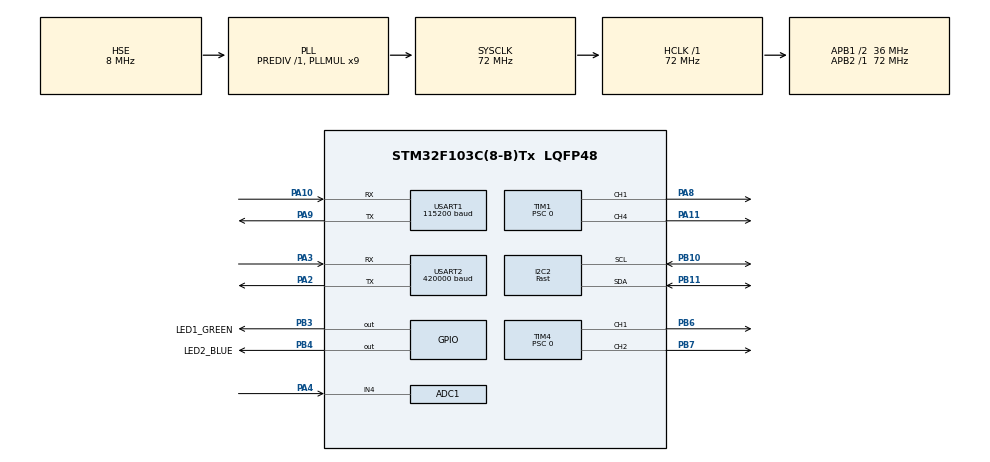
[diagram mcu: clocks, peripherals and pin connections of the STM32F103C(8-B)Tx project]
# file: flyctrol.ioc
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ADC1.Channel-0\#ChannelRegularConversion=ADC_CHANNEL_4
ADC1.Rank-0\#ChannelRegularConversion=1
ADC1.SamplingTime-0\#ChannelRegularConversion=ADC_SAMPLETIME_239CYCLES_5
ADC1.master=1
Dma.Request0=USART2_RX
Dma.USART2_RX.0.Direction=DMA_PERIPH_TO_MEMORY
Dma.USART2_RX.0.Instance=DMA1_Channel6
Dma.USART2_RX.0.MemDataAlignment=DMA_MDATAALIGN_BYTE
Dma.USART2_RX.0.MemInc=DMA_MINC_ENABLE
Dma.USART2_RX.0.Mode=DMA_CIRCULAR
Dma.USART2_RX.0.PeriphDataAlignment=DMA_PDATAALIGN_BYTE
Dma.USART2_RX.0.PeriphInc=DMA_PINC_DISABLE
Dma.USART2_RX.0.Priority=DMA_PRIORITY_HIGH
FREERTOS.HEAP_NUMBER=4
FREERTOS.INCLUDE_eTaskGetState=1
FREERTOS.INCLUDE_pcTaskGetTaskName=1
FREERTOS.INCLUDE_uxTaskGetStackHighWaterMark=1
FREERTOS.INCLUDE_uxTaskPriorityGet=1
FREERTOS.INCLUDE_vTaskCleanUpResources=0
FREERTOS.INCLUDE_vTaskDelay=1
FREERTOS.INCLUDE_vTaskDelayUntil=1
FREERTOS.INCLUDE_vTaskDelete=1
FREERTOS.INCLUDE_vTaskPrioritySet=1
FREERTOS.INCLUDE_vTaskSuspend=1
FREERTOS.INCLUDE_xEventGroupSetBitFromISR=0
FREERTOS.INCLUDE_xQueueGetMutexHolder=0
FREERTOS.INCLUDE_xSemaphoreGetMutexHolder=0
FREERTOS.INCLUDE_xTaskAbortDelay=0
FREERTOS.INCLUDE_xTaskGetCurrentTaskHandle=1
FREERTOS.INCLUDE_xTaskGetHandle=0
FREERTOS.INCLUDE_xTaskGetSchedulerState=1
FREERTOS.INCLUDE_xTaskResumeFromISR=1
FREERTOS.MEMORY_ALLOCATION=0
FREERTOS.Tasks01=defaultTask,0,512,StartDefaultTask,Default,NULL,Dynamic,NULL,NULL
FREERTOS.configCHECK_FOR_STACK_OVERFLOW=2
FREERTOS.configENABLE_BACKWARD_COMPATIBILITY=1
FREERTOS.configGENERATE_RUN_TIME_STATS=0
FREERTOS.configIDLE_SHOULD_YIELD=1
FREERTOS.configLIBRARY_LOWEST_INTERRUPT_PRIORITY=15
FREERTOS.configLIBRARY_MAX_SYSCALL_INTERRUPT_PRIORITY=5
FREERTOS.configMAX_CO_ROUTINE_PRIORITIES=2
FREERTOS.configMAX_PRIORITIES=7
FREERTOS.configMAX_TASK_NAME_LEN=12
FREERTOS.configMINIMAL_STACK_SIZE=128
FREERTOS.configQUEUE_REGISTRY_SIZE=4
FREERTOS.configRECORD_STACK_HIGH_ADDRESS=0
FREERTOS.configTICK_RATE_HZ=1000
FREERTOS.configTOTAL_HEAP_SIZE=12288
FREERTOS.configUSE_APPLICATION_TASK_TAG=0
FREERTOS.configUSE_COUNTING_SEMAPHORES=1
FREERTOS.configUSE_CO_ROUTINES=0
FREERTOS.configUSE_DAEMON_TASK_STARTUP_HOOK=0
FREERTOS.configUSE_IDLE_HOOK=0
FREERTOS.configUSE_MALLOC_FAILED_HOOK=1
FREERTOS.configUSE_MUTEXES=1
FREERTOS.configUSE_NEWLIB_REENTRANT=1
FREERTOS.configUSE_PREEMPTION=1
FREERTOS.configUSE_RECURSIVE_MUTEXES=0
FREERTOS.configUSE_STATS_FORMATTING_FUNCTIONS=1
FREERTOS.configUSE_TASK_NOTIFICATIONS=1
FREERTOS.configUSE_TICKLESS_IDLE=0
FREERTOS.configUSE_TICK_HOOK=0
FREERTOS.configUSE_TIMERS=0
FREERTOS.configUSE_TRACE_FACILITY=1
FREERTOS.copyHeapFile=1
I2C2.I2C_Speed_Mode=I2C_Fast
Mcu.Family=STM32F1
Mcu.Name=STM32F103C(8-B)Tx
Mcu.Package=LQFP48
NVIC.DMA1_Channel6_IRQn=true\:5\:0\:false\:false\:true\:true\:true\:true\:true
NVIC.PriorityGroup=NVIC_PRIORITYGROUP_4
NVIC.TIM2_IRQn=true\:15\:0\:false\:false\:true\:false\:true\:true\:true
NVIC.TimeBase=TIM2_IRQn
NVIC.TimeBaseIP=TIM2
NVIC.USART2_IRQn=true\:5\:0\:false\:false\:true\:true\:true\:true\:true
PA10.Mode=Asynchronous
PA10.Signal=USART1_RX
PA11.Signal=S_TIM1_CH4
PA13.Mode=Serial_Wire
PA13.Signal=SYS_JTMS-SWDIO
PA14.Mode=Serial_Wire
PA14.Signal=SYS_JTCK-SWCLK
PA2.Mode=Asynchronous
PA2.Signal=USART2_TX
PA3.Mode=Asynchronous
PA3.Signal=USART2_RX
PA4.Signal=ADCx_IN4
PA8.Signal=S_TIM1_CH1
PA9.Mode=Asynchronous
PA9.Signal=USART1_TX
PB10.Mode=I2C
PB10.Signal=I2C2_SCL
PB11.Mode=I2C
PB11.Signal=I2C2_SDA
PB3.GPIO_Label=LED1_GREEN
PB3.GPIO_ModeDefaultOutputPP=GPIO_MODE_OUTPUT_PP
PB3.GPIO_Speed=GPIO_SPEED_FREQ_LOW
PB3.PinState=GPIO_PIN_SET
PB3.Signal=GPIO_Output
PB4.GPIO_Label=LED2_BLUE
PB4.GPIO_ModeDefaultOutputPP=GPIO_MODE_OUTPUT_PP
PB4.GPIO_Speed=GPIO_SPEED_FREQ_LOW
PB4.PinState=GPIO_PIN_SET
PB4.Signal=GPIO_Output
PB6.Signal=S_TIM4_CH1
PB7.Signal=S_TIM4_CH2
PD0-OSC_IN.Mode=HSE-External-Oscillator
PD0-OSC_IN.Signal=RCC_OSC_IN
PD1-OSC_OUT.Mode=HSE-External-Oscillator
PD1-OSC_OUT.Signal=RCC_OSC_OUT
ProjectManager.HeapSize=0x800
ProjectManager.StackSize=0x800
ProjectManager.TargetToolchain=STM32CubeIDE
RCC.ADCPresc=RCC_ADCPCLK2_DIV6
RCC.AHBFreq_Value=72000000
RCC.APB1CLKDivider=RCC_HCLK_DIV2
RCC.APB1Freq_Value=36000000
RCC.APB1TimFreq_Value=72000000
RCC.APB2Freq_Value=72000000
RCC.APB2TimFreq_Value=72000000
RCC.HCLKFreq_Value=72000000
RCC.HSE_VALUE=8000000
RCC.HSI_VALUE=8000000
RCC.PLLMUL=RCC_PLL_MUL9
RCC.PLLMul=RCC_PLL_MUL9
RCC.PLLSourceVirtual=RCC_PLLSOURCE_HSE
RCC.SYSCLKFreq_VALUE=72000000
RCC.SYSCLKSource=RCC_SYSCLKSOURCE_PLLCLK
RCC.USBFreq_Value=72000000
SH.ADCx_IN4.0=ADC1_IN4,IN4
SH.S_TIM1_CH1.0=TIM1_CH1,PWM Generation1 CH1
SH.S_TIM1_CH4.0=TIM1_CH4,PWM Generation4 CH4
SH.S_TIM4_CH1.0=TIM4_CH1,PWM Generation1 CH1
SH.S_TIM4_CH2.0=TIM4_CH2,PWM Generation2 CH2
TIM1.Channel-PWM\ Generation1\ CH1=TIM_CHANNEL_1
TIM1.Channel-PWM\ Generation4\ CH4=TIM_CHANNEL_4
TIM1.Period=4499
TIM1.Prescaler=0
TIM1.Pulse-PWM\ Generation1\ CH1=0
TIM1.Pulse-PWM\ Generation4\ CH4=0
TIM4.Channel-PWM\ Generation1\ CH1=TIM_CHANNEL_1
TIM4.Channel-PWM\ Generation2\ CH2=TIM_CHANNEL_2
TIM4.Period=4499
TIM4.Prescaler=0
TIM4.Pulse-PWM\ Generation1\ CH1=0
TIM4.Pulse-PWM\ Generation2\ CH2=0
USART1.BaudRate=115200
USART1.Mode=MODE_TX_RX
USART1.OverSampling=UART_OVERSAMPLING_16
USART1.Parity=PARITY_NONE
USART1.StopBits=STOPBITS_1
USART1.VirtualMode=VM_ASYNC
USART1.VirtualMode-Asynchronous=VM_ASYNC
USART1.WordLength=WORDLENGTH_8B
USART2.BaudRate=420000
USART2.Mode=MODE_TX_RX
USART2.OverSampling=UART_OVERSAMPLING_16
USART2.Parity=PARITY_NONE
USART2.StopBits=STOPBITS_1
USART2.VirtualMode=VM_ASYNC
USART2.VirtualMode-Asynchronous=VM_ASYNC
USART2.WordLength=WORDLENGTH_8B
VP_FREERTOS_VS_CMSIS_V1.Mode=CMSIS_V1
VP_SYS_VS_tim2.Mode=TIM2
VP_TIM1_VS_ClockSourceINT.Mode=Internal
VP_TIM4_VS_ClockSourceINT.Mode=Internal
board=custom

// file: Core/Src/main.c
/* USER CODE BEGIN Header */
/**
  ******************************************************************************
  * @file           : main.c
  * @brief          : Main program body
  ******************************************************************************
  * @attention
  *
  * Copyright (c) 2026 STMicroelectronics.
  * All rights reserved.
  *
  * This software is licensed under terms that can be found in the LICENSE file
  * in the root directory of this software component.
  * If no LICENSE file comes with this software, it is provided AS-IS.
  *
  ******************************************************************************
  */
/* USER CODE END Header */
#include "main.h"
/* USER CODE BEGIN Includes */
#include <string.h>
#include "FreeRTOS.h"
#include "task.h"
#include "app_main.h"
/* USER CODE END Includes */

ADC_HandleTypeDef hadc1;

I2C_HandleTypeDef hi2c2;

TIM_HandleTypeDef htim1;
TIM_HandleTypeDef htim4;

UART_HandleTypeDef huart1;
UART_HandleTypeDef huart2;
DMA_HandleTypeDef hdma_usart2_rx;

void SystemClock_Config(void);
static void MX_GPIO_Init(void);
static void MX_DMA_Init(void);
static void MX_ADC1_Init(void);
static void MX_I2C2_Init(void);
static void MX_TIM1_Init(void);
static void MX_TIM4_Init(void);
static void MX_USART1_UART_Init(void);
static void MX_USART2_UART_Init(void);
/* USER CODE BEGIN PFP */
static void StartupTask(void *argument);

/* USER CODE END PFP */

/* USER CODE BEGIN 0 */
static volatile uint32_t s_boot_stage;
static volatile uint32_t s_clock_hsi_fallback;

static void EarlyUart1_InitBare(void)
{
  uint32_t pclk;

  RCC->APB2ENR |= RCC_APB2ENR_AFIOEN | RCC_APB2ENR_IOPAEN | RCC_APB2ENR_USART1EN;

  GPIOA->CRH &= ~((0xFU << 4U) | (0xFU << 8U));
  GPIOA->CRH |= (0xBU << 4U) | (0x4U << 8U); /* PA9 AF_PP, PA10 floating input */

  USART1->CR1 = 0U;
  pclk = HAL_RCC_GetPCLK2Freq();
  if (pclk < 1000000U)
  {
    pclk = 8000000U;
  }
  USART1->BRR = (pclk + (115200U / 2U)) / 115200U;
  USART1->CR1 = USART_CR1_TE | USART_CR1_RE | USART_CR1_UE;
}

static void EarlyUart1_WriteString(const char *text)
{
  if (text == NULL)
  {
    return;
  }
  while (*text != '\0')
  {
    while ((USART1->SR & USART_SR_TXE) == 0U)
    {
    }
    USART1->DR = (uint16_t)(uint8_t)(*text++);
  }
  while ((USART1->SR & USART_SR_TC) == 0U)
  {
  }
}

static void EarlyDelay(volatile uint32_t loops)
{
  while (loops-- > 0U)
  {
  }
}

static void EarlyLed_InitBare(void)
{
  RCC->APB2ENR |= RCC_APB2ENR_AFIOEN | RCC_APB2ENR_IOPBEN;
  MODIFY_REG(AFIO->MAPR, AFIO_MAPR_SWJ_CFG, AFIO_MAPR_SWJ_CFG_JTAGDISABLE);

  GPIOB->CRL &= ~((0xFU << (3U * 4U)) | (0xFU << (4U * 4U)));
  GPIOB->CRL |= (0x2U << (3U * 4U)) | (0x2U << (4U * 4U)); /* output push-pull 2 MHz */
  GPIOB->BSRR = GPIO_PIN_3 | GPIO_PIN_4;                   /* active-low LEDs off */
}

static void EarlyLed_Set(uint16_t pin, uint32_t on)
{
  GPIOB->BSRR = (on != 0U) ? ((uint32_t)pin << 16U) : pin;
}

static void EarlyLed_BootFlash(void)
{
  for (uint32_t i = 0U; i < 4U; i++)
  {
    EarlyLed_Set(GPIO_PIN_3, 1U);
    EarlyLed_Set(GPIO_PIN_4, 1U);
    EarlyDelay(700000U);
    EarlyLed_Set(GPIO_PIN_3, 0U);
    EarlyLed_Set(GPIO_PIN_4, 0U);
    EarlyDelay(700000U);
  }
}

static void EarlyLed_ClockFlash(void)
{
  for (uint32_t i = 0U; i < 4U; i++)
  {
    EarlyLed_Set(GPIO_PIN_3, 1U);
    EarlyLed_Set(GPIO_PIN_4, 0U);
    EarlyDelay(500000U);
    EarlyLed_Set(GPIO_PIN_3, 0U);
    EarlyLed_Set(GPIO_PIN_4, 1U);
    EarlyDelay(500000U);
  }
  EarlyLed_Set(GPIO_PIN_3, 0U);
  EarlyLed_Set(GPIO_PIN_4, 0U);
}

static void EarlyLed_ClockResultHold(uint32_t hsi_fallback)
{
  uint16_t on_pin = (hsi_fallback != 0U) ? GPIO_PIN_3 : GPIO_PIN_4;
  uint16_t off_pin = (hsi_fallback != 0U) ? GPIO_PIN_4 : GPIO_PIN_3;

  EarlyDelay(1200000U);
  EarlyLed_Set(on_pin, 1U);
  EarlyLed_Set(off_pin, 0U);
  for (uint32_t i = 0U; i < 8U; i++)
  {
    EarlyDelay(1000000U);
  }
  EarlyLed_Set(on_pin, 0U);
  EarlyDelay(1200000U);
}

static void EarlyLed_ErrorCode(uint32_t code)
{
  uint32_t tens = code / 10U;
  uint32_t ones = code % 10U;

  EarlyLed_Set(GPIO_PIN_3, 0U);
  EarlyLed_Set(GPIO_PIN_4, 0U);
  EarlyDelay(2500000U);

  for (uint32_t i = 0U; i < tens; i++)
  {
    EarlyLed_Set(GPIO_PIN_4, 1U);
    EarlyDelay(700000U);
    EarlyLed_Set(GPIO_PIN_4, 0U);
    EarlyDelay(700000U);
  }

  EarlyDelay(1400000U);

  for (uint32_t i = 0U; i < ones; i++)
  {
    EarlyLed_Set(GPIO_PIN_3, 1U);
    EarlyDelay(700000U);
    EarlyLed_Set(GPIO_PIN_3, 0U);
    EarlyDelay(700000U);
  }
}

static uint32_t StackOverflowStageFromName(const char *name)
{
  if (name == NULL)
  {
    return 31U;
  }
  if (strcmp(name, "stabilize") == 0)
  {
    return 62U;
  }
  if (strcmp(name, "startup") == 0)
  {
    return 61U;
  }
  if (strcmp(name, "crsf") == 0)
  {
    return 63U;
  }
  if (strcmp(name, "safety") == 0)
  {
    return 64U;
  }
  if (strcmp(name, "baro") == 0)
  {
    return 65U;
  }
  if (strcmp(name, "battery") == 0)
  {
    return 66U;
  }
  if (strcmp(name, "telem") == 0)
  {
    return 67U;
  }
  if (strcmp(name, "cli") == 0)
  {
    return 68U;
  }
  return 31U;
}

/* USER CODE END 0 */

int main(void)
{

  /* USER CODE BEGIN 1 */
  s_boot_stage = 1U;

  /* USER CODE END 1 */

  /* MCU Configuration--------------------------------------------------------*/

  /* Reset of all peripherals, Initializes the Flash interface and the Systick. */
  HAL_Init();

  /* USER CODE BEGIN Init */
  EarlyLed_InitBare();
  EarlyLed_BootFlash();
  EarlyUart1_InitBare();
  EarlyUart1_WriteString("\r\nPRECLK USART1 115200 PA9_TX PA10_RX\r\n");

  /* USER CODE END Init */

  /* Configure the system clock */
  s_boot_stage = 2U;
  SystemClock_Config();

  /* USER CODE BEGIN SysInit */
  EarlyLed_InitBare();
  EarlyLed_ClockFlash();
  EarlyLed_ClockResultHold(s_clock_hsi_fallback);
  EarlyUart1_InitBare();
  if (s_clock_hsi_fallback != 0U)
  {
    EarlyUart1_WriteString("CLOCK OK HSI FALLBACK SYSCLK\r\n");
  }
  else
  {
    EarlyUart1_WriteString("CLOCK OK HSE PLL SYSCLK\r\n");
  }

  /* USER CODE END SysInit */

  /* Initialize all configured peripherals */
  s_boot_stage = 3U;
  MX_GPIO_Init();
  s_boot_stage = 4U;
  MX_USART1_UART_Init();
  /* USER CODE BEGIN 2 */
  {
    const uint8_t early_msg[] = "HAL USART1 OK 115200\r\n";
    (void)HAL_UART_Transmit(&huart1, (uint8_t *)early_msg, sizeof(early_msg) - 1U, 200U);
  }

  /* USER CODE END 2 */
  s_boot_stage = 5U;
  MX_DMA_Init();
  s_boot_stage = 6U;
  MX_ADC1_Init();
  s_boot_stage = 7U;
  MX_I2C2_Init();
  s_boot_stage = 8U;
  MX_TIM1_Init();
  s_boot_stage = 9U;
  MX_TIM4_Init();
  s_boot_stage = 10U;
  MX_USART2_UART_Init();

  /* Create a small startup task so App_Start runs with the RTOS alive. */
  s_boot_stage = 11U;
  if (xTaskCreate(StartupTask,
                  "startup",
                  256U,
                  NULL,
                  tskIDLE_PRIORITY + 1U,
                  NULL) != pdPASS)
  {
    Error_Handler();
  }

  /* Start scheduler */
  s_boot_stage = 12U;
  vTaskStartScheduler();

  /* We should never get here as control is now taken by the scheduler */

  /* Infinite loop */
  while (1)
  {

  }
}

void SystemClock_Config(void)
{
  RCC_OscInitTypeDef RCC_OscInitStruct = {0};
  RCC_ClkInitTypeDef RCC_ClkInitStruct = {0};
  RCC_PeriphCLKInitTypeDef PeriphClkInit = {0};
  uint32_t flash_latency = FLASH_LATENCY_2;
  s_clock_hsi_fallback = 0U;

  /** Initializes the RCC Oscillators according to the specified parameters
  * in the RCC_OscInitTypeDef structure.
  */
  RCC_OscInitStruct.OscillatorType = RCC_OSCILLATORTYPE_HSE;
  RCC_OscInitStruct.HSEState = RCC_HSE_ON;
  RCC_OscInitStruct.HSEPredivValue = RCC_HSE_PREDIV_DIV1;
  RCC_OscInitStruct.HSIState = RCC_HSI_ON;
  RCC_OscInitStruct.PLL.PLLState = RCC_PLL_ON;
  RCC_OscInitStruct.PLL.PLLSource = RCC_PLLSOURCE_HSE;
  RCC_OscInitStruct.PLL.PLLMUL = RCC_PLL_MUL9;
  if (HAL_RCC_OscConfig(&RCC_OscInitStruct) != HAL_OK)
  {
    s_clock_hsi_fallback = 1U;
    RCC_OscInitStruct = (RCC_OscInitTypeDef){0};
    RCC_OscInitStruct.OscillatorType = RCC_OSCILLATORTYPE_HSI;
    RCC_OscInitStruct.HSIState = RCC_HSI_ON;
    RCC_OscInitStruct.HSICalibrationValue = RCC_HSICALIBRATION_DEFAULT;
    RCC_OscInitStruct.PLL.PLLState = RCC_PLL_ON;
    RCC_OscInitStruct.PLL.PLLSource = RCC_PLLSOURCE_HSI_DIV2;
    RCC_OscInitStruct.PLL.PLLMUL = RCC_PLL_MUL16; /* 8 MHz HSI / 2 * 16 = 64 MHz */
    if (HAL_RCC_OscConfig(&RCC_OscInitStruct) != HAL_OK)
    {
      s_boot_stage = 22U;
      Error_Handler();
    }
  }

  /** Initializes the CPU, AHB and APB buses clocks
  */
  RCC_ClkInitStruct.ClockType = RCC_CLOCKTYPE_HCLK|RCC_CLOCKTYPE_SYSCLK
                              |RCC_CLOCKTYPE_PCLK1|RCC_CLOCKTYPE_PCLK2;
  RCC_ClkInitStruct.SYSCLKSource = RCC_SYSCLKSOURCE_PLLCLK;
  RCC_ClkInitStruct.AHBCLKDivider = RCC_SYSCLK_DIV1;
  RCC_ClkInitStruct.APB1CLKDivider = RCC_HCLK_DIV2;
  RCC_ClkInitStruct.APB2CLKDivider = RCC_HCLK_DIV1;

  if (HAL_RCC_ClockConfig(&RCC_ClkInitStruct, flash_latency) != HAL_OK)
  {
    s_boot_stage = 23U;
    Error_Handler();
  }
  PeriphClkInit.PeriphClockSelection = RCC_PERIPHCLK_ADC;
  PeriphClkInit.AdcClockSelection = RCC_ADCPCLK2_DIV6;
  if (HAL_RCCEx_PeriphCLKConfig(&PeriphClkInit) != HAL_OK)
  {
    s_boot_stage = 24U;
    Error_Handler();
  }
}

static void MX_ADC1_Init(void)
{

  ADC_ChannelConfTypeDef sConfig = {0};

  /** Common config
  */
  hadc1.Instance = ADC1;
  hadc1.Init.ScanConvMode = ADC_SCAN_DISABLE;
  hadc1.Init.ContinuousConvMode = DISABLE;
  hadc1.Init.DiscontinuousConvMode = DISABLE;
  hadc1.Init.ExternalTrigConv = ADC_SOFTWARE_START;
  hadc1.Init.DataAlign = ADC_DATAALIGN_RIGHT;
  hadc1.Init.NbrOfConversion = 1;
  if (HAL_ADC_Init(&hadc1) != HAL_OK)
  {
    Error_Handler();
  }

  /** Configure Regular Channel
  */
  sConfig.Channel = ADC_CHANNEL_4;
  sConfig.Rank = ADC_REGULAR_RANK_1;
  sConfig.SamplingTime = ADC_SAMPLETIME_239CYCLES_5;
  if (HAL_ADC_ConfigChannel(&hadc1, &sConfig) != HAL_OK)
  {
    Error_Handler();
  }

}

static void MX_I2C2_Init(void)
{

  hi2c2.Instance = I2C2;
  hi2c2.Init.ClockSpeed = 100000;
  hi2c2.Init.DutyCycle = I2C_DUTYCYCLE_2;
  hi2c2.Init.OwnAddress1 = 0;
  hi2c2.Init.AddressingMode = I2C_ADDRESSINGMODE_7BIT;
  hi2c2.Init.DualAddressMode = I2C_DUALADDRESS_DISABLE;
  hi2c2.Init.OwnAddress2 = 0;
  hi2c2.Init.GeneralCallMode = I2C_GENERALCALL_DISABLE;
  hi2c2.Init.NoStretchMode = I2C_NOSTRETCH_DISABLE;
  if (HAL_I2C_Init(&hi2c2) != HAL_OK)
  {
    Error_Handler();
  }
  /* USER CODE BEGIN I2C2_Init 2 */
  if (hi2c2.Init.ClockSpeed != 400000U)
  {
    hi2c2.Init.ClockSpeed = 400000U;
    if (HAL_I2C_Init(&hi2c2) != HAL_OK)
    {
      Error_Handler();
    }
  }

  /* USER CODE END I2C2_Init 2 */

}

static void MX_TIM1_Init(void)
{

  TIM_ClockConfigTypeDef sClockSourceConfig = {0};
  TIM_MasterConfigTypeDef sMasterConfig = {0};
  TIM_OC_InitTypeDef sConfigOC = {0};
  TIM_BreakDeadTimeConfigTypeDef sBreakDeadTimeConfig = {0};

  htim1.Instance = TIM1;
  htim1.Init.Prescaler = 0;
  htim1.Init.CounterMode = TIM_COUNTERMODE_UP;
  htim1.Init.Period = 4499;
  htim1.Init.ClockDivision = TIM_CLOCKDIVISION_DIV1;
  htim1.Init.RepetitionCounter = 0;
  htim1.Init.AutoReloadPreload = TIM_AUTORELOAD_PRELOAD_DISABLE;
  if (HAL_TIM_Base_Init(&htim1) != HAL_OK)
  {
    Error_Handler();
  }
  sClockSourceConfig.ClockSource = TIM_CLOCKSOURCE_INTERNAL;
  if (HAL_TIM_ConfigClockSource(&htim1, &sClockSourceConfig) != HAL_OK)
  {
    Error_Handler();
  }
  if (HAL_TIM_PWM_Init(&htim1) != HAL_OK)
  {
    Error_Handler();
  }
  sMasterConfig.MasterOutputTrigger = TIM_TRGO_RESET;
  sMasterConfig.MasterSlaveMode = TIM_MASTERSLAVEMODE_DISABLE;
  if (HAL_TIMEx_MasterConfigSynchronization(&htim1, &sMasterConfig) != HAL_OK)
  {
    Error_Handler();
  }
  sConfigOC.OCMode = TIM_OCMODE_PWM1;
  sConfigOC.Pulse = 0;
  sConfigOC.OCPolarity = TIM_OCPOLARITY_HIGH;
  sConfigOC.OCNPolarity = TIM_OCNPOLARITY_HIGH;
  sConfigOC.OCFastMode = TIM_OCFAST_DISABLE;
  sConfigOC.OCIdleState = TIM_OCIDLESTATE_RESET;
  sConfigOC.OCNIdleState = TIM_OCNIDLESTATE_RESET;
  if (HAL_TIM_PWM_ConfigChannel(&htim1, &sConfigOC, TIM_CHANNEL_1) != HAL_OK)
  {
    Error_Handler();
  }
  if (HAL_TIM_PWM_ConfigChannel(&htim1, &sConfigOC, TIM_CHANNEL_4) != HAL_OK)
  {
    Error_Handler();
  }
  sBreakDeadTimeConfig.OffStateRunMode = TIM_OSSR_DISABLE;
  sBreakDeadTimeConfig.OffStateIDLEMode = TIM_OSSI_DISABLE;
  sBreakDeadTimeConfig.LockLevel = TIM_LOCKLEVEL_OFF;
  sBreakDeadTimeConfig.DeadTime = 0;
  sBreakDeadTimeConfig.BreakState = TIM_BREAK_DISABLE;
  sBreakDeadTimeConfig.BreakPolarity = TIM_BREAKPOLARITY_HIGH;
  sBreakDeadTimeConfig.AutomaticOutput = TIM_AUTOMATICOUTPUT_DISABLE;
  if (HAL_TIMEx_ConfigBreakDeadTime(&htim1, &sBreakDeadTimeConfig) != HAL_OK)
  {
    Error_Handler();
  }
  HAL_TIM_MspPostInit(&htim1);

}

static void MX_TIM4_Init(void)
{

  TIM_ClockConfigTypeDef sClockSourceConfig = {0};
  TIM_MasterConfigTypeDef sMasterConfig = {0};
  TIM_OC_InitTypeDef sConfigOC = {0};

  htim4.Instance = TIM4;
  htim4.Init.Prescaler = 0;
  htim4.Init.CounterMode = TIM_COUNTERMODE_UP;
  htim4.Init.Period = 4499;
  htim4.Init.ClockDivision = TIM_CLOCKDIVISION_DIV1;
  htim4.Init.AutoReloadPreload = TIM_AUTORELOAD_PRELOAD_DISABLE;
  if (HAL_TIM_Base_Init(&htim4) != HAL_OK)
  {
    Error_Handler();
  }
  sClockSourceConfig.ClockSource = TIM_CLOCKSOURCE_INTERNAL;
  if (HAL_TIM_ConfigClockSource(&htim4, &sClockSourceConfig) != HAL_OK)
  {
    Error_Handler();
  }
  if (HAL_TIM_PWM_Init(&htim4) != HAL_OK)
  {
    Error_Handler();
  }
  sMasterConfig.MasterOutputTrigger = TIM_TRGO_RESET;
  sMasterConfig.MasterSlaveMode = TIM_MASTERSLAVEMODE_DISABLE;
  if (HAL_TIMEx_MasterConfigSynchronization(&htim4, &sMasterConfig) != HAL_OK)
  {
    Error_Handler();
  }
  sConfigOC.OCMode = TIM_OCMODE_PWM1;
  sConfigOC.Pulse = 0;
  sConfigOC.OCPolarity = TIM_OCPOLARITY_HIGH;
  sConfigOC.OCFastMode = TIM_OCFAST_DISABLE;
  if (HAL_TIM_PWM_ConfigChannel(&htim4, &sConfigOC, TIM_CHANNEL_1) != HAL_OK)
  {
    Error_Handler();
  }
  if (HAL_TIM_PWM_ConfigChannel(&htim4, &sConfigOC, TIM_CHANNEL_2) != HAL_OK)
  {
    Error_Handler();
  }
  HAL_TIM_MspPostInit(&htim4);

}

static void MX_USART1_UART_Init(void)
{

  huart1.Instance = USART1;
  huart1.Init.BaudRate = 115200;
  huart1.Init.WordLength = UART_WORDLENGTH_8B;
  huart1.Init.StopBits = UART_STOPBITS_1;
  huart1.Init.Parity = UART_PARITY_NONE;
  huart1.Init.Mode = UART_MODE_TX_RX;
  huart1.Init.HwFlowCtl = UART_HWCONTROL_NONE;
  huart1.Init.OverSampling = UART_OVERSAMPLING_16;
  if (HAL_UART_Init(&huart1) != HAL_OK)
  {
    Error_Handler();
  }

}

static void MX_USART2_UART_Init(void)
{

  huart2.Instance = USART2;
  huart2.Init.BaudRate = 420000;
  huart2.Init.WordLength = UART_WORDLENGTH_8B;
  huart2.Init.StopBits = UART_STOPBITS_1;
  huart2.Init.Parity = UART_PARITY_NONE;
  huart2.Init.Mode = UART_MODE_TX_RX;
  huart2.Init.HwFlowCtl = UART_HWCONTROL_NONE;
  huart2.Init.OverSampling = UART_OVERSAMPLING_16;
  if (HAL_UART_Init(&huart2) != HAL_OK)
  {
    Error_Handler();
  }

}

static void MX_DMA_Init(void)
{

  /* DMA controller clock enable */
  __HAL_RCC_DMA1_CLK_ENABLE();

  /* DMA interrupt init */
  /* DMA1_Channel6_IRQn interrupt configuration */
  HAL_NVIC_SetPriority(DMA1_Channel6_IRQn, 5, 0);
  HAL_NVIC_EnableIRQ(DMA1_Channel6_IRQn);

}

static void MX_GPIO_Init(void)
{
  GPIO_InitTypeDef GPIO_InitStruct = {0};

  /* GPIO Ports Clock Enable */
  __HAL_RCC_GPIOD_CLK_ENABLE();
  __HAL_RCC_GPIOA_CLK_ENABLE();
  __HAL_RCC_GPIOB_CLK_ENABLE();

  /*Configure GPIO pin Output Level */
  HAL_GPIO_WritePin(GPIOB, LED1_GREEN_Pin|LED2_BLUE_Pin, GPIO_PIN_SET);

  /*Configure GPIO pins : LED1_GREEN_Pin LED2_BLUE_Pin */
  GPIO_InitStruct.Pin = LED1_GREEN_Pin|LED2_BLUE_Pin;
  GPIO_InitStruct.Mode = GPIO_MODE_OUTPUT_PP;
  GPIO_InitStruct.Pull = GPIO_NOPULL;
  GPIO_InitStruct.Speed = GPIO_SPEED_FREQ_LOW;
  HAL_GPIO_Init(GPIOB, &GPIO_InitStruct);

}

/* USER CODE BEGIN 4 */
static void StartupTask(void *argument)
{
  (void)argument;
  s_boot_stage = 20U;
  App_Start();
  s_boot_stage = 21U;
  vTaskDelete(NULL);
  for (;;)
  {
  }
}

void AppBootStage_Set(uint32_t stage)
{
  s_boot_stage = stage;
}

uint32_t AppClock_IsHsiFallback(void)
{
  return s_clock_hsi_fallback;
}

void vApplicationMallocFailedHook(void)
{
  s_boot_stage = 30U;
  taskDISABLE_INTERRUPTS();
  EarlyLed_InitBare();
  for (;;)
  {
    EarlyLed_ErrorCode(s_boot_stage);
  }
}

void vApplicationStackOverflowHook(TaskHandle_t xTask, char *pcTaskName)
{
  (void)xTask;
  s_boot_stage = StackOverflowStageFromName(pcTaskName);
  taskDISABLE_INTERRUPTS();
  EarlyLed_InitBare();
  for (;;)
  {
    EarlyLed_ErrorCode(s_boot_stage);
  }
}

/* USER CODE END 4 */

void HAL_TIM_PeriodElapsedCallback(TIM_HandleTypeDef *htim)
{
  if (htim->Instance == TIM2)
  {
    HAL_IncTick();
  }
}

void Error_Handler(void)
{
  /* USER CODE BEGIN Error_Handler_Debug */
  /* User can add his own implementation to report the HAL error return state */
  __disable_irq();
  EarlyUart1_InitBare();
  EarlyLed_InitBare();
  while (1)
  {
    EarlyUart1_WriteString("ERROR_HANDLER stage=");
    char stage_text[12];
    uint32_t v = s_boot_stage;
    uint32_t pos = 0U;
    if (v >= 100U)
    {
      stage_text[pos++] = (char)('0' + ((v / 100U) % 10U));
    }
    if (v >= 10U)
    {
      stage_text[pos++] = (char)('0' + ((v / 10U) % 10U));
    }
    stage_text[pos++] = (char)('0' + (v % 10U));
    stage_text[pos++] = '\r';
    stage_text[pos++] = '\n';
    stage_text[pos] = '\0';
    EarlyUart1_WriteString(stage_text);
    EarlyLed_ErrorCode(s_boot_stage);
  }
  /* USER CODE END Error_Handler_Debug */
}

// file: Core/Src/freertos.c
/* USER CODE BEGIN Header */
/**
  ******************************************************************************
  * File Name          : freertos.c
  * Description        : Code for freertos applications
  ******************************************************************************
  * @attention
  *
  * Copyright (c) 2026 STMicroelectronics.
  * All rights reserved.
  *
  * This software is licensed under terms that can be found in the LICENSE file
  * in the root directory of this software component.
  * If no LICENSE file comes with this software, it is provided AS-IS.
  *
  ******************************************************************************
  */
/* USER CODE END Header */

#include "FreeRTOS.h"
#include "task.h"
#include "main.h"

/* Hook prototypes */
void vApplicationStackOverflowHook(xTaskHandle xTask, signed char *pcTaskName);
void vApplicationMallocFailedHook(void);

/* USER CODE BEGIN 4 */
__weak void vApplicationStackOverflowHook(xTaskHandle xTask, signed char *pcTaskName)
{
   /* Run time stack overflow checking is performed if
   configCHECK_FOR_STACK_OVERFLOW is defined to 1 or 2. This hook function is
   called if a stack overflow is detected. */
}
/* USER CODE END 4 */

/* USER CODE BEGIN 5 */
__weak void vApplicationMallocFailedHook(void)
{
   /* vApplicationMallocFailedHook() will only be called if
   configUSE_MALLOC_FAILED_HOOK is set to 1 in FreeRTOSConfig.h. It is a hook
   function that will get called if a call to pvPortMalloc() fails.
   pvPortMalloc() is called internally by the kernel whenever a task, queue,
   timer or semaphore is created. It is also called by various parts of the
   demo application. If heap_1.c or heap_2.c are used, then the size of the
   heap available to pvPortMalloc() is defined by configTOTAL_HEAP_SIZE in
   FreeRTOSConfig.h, and the xPortGetFreeHeapSize() API function can be used
   to query the size of free heap space that remains (although it does not
   provide information on how the remaining heap might be fragmented). */
}
/* USER CODE END 5 */
